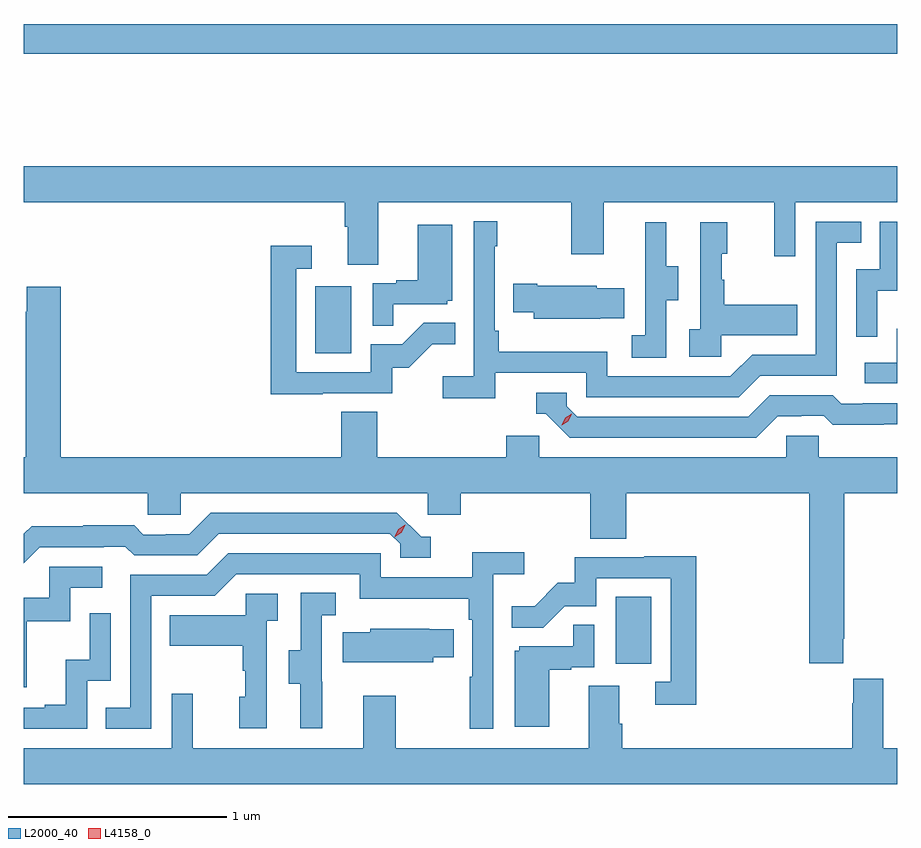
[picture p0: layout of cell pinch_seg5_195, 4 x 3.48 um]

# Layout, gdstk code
import gdstk
lib = gdstk.Library(unit=1e-6, precision=1e-09)
def R(c, l, rs):  # rectangles x0, y0, x1, y1
    for r in rs: c.add(gdstk.rectangle(r[:2], r[2:], *l))
def P(c, l, *ps):  # polygons
    for p in ps: c.add(gdstk.Polygon(p, *l))
L2000_40 = (2000, 40)
L4158_0 = (4158, 0)

pinch_seg5_195 = lib.new_cell('pinch_seg5_195')
R(pinch_seg5_195, L2000_40, [(986.096,907.926,986.26,908.233), (984.722,909.348,984.886,909.655), (983.386,910.72,987.386,910.856)])
P(pinch_seg5_195, L2000_40, [(985.009,910.04),(985.894,910.04),(985.894,909.801),(986.041,909.801),(986.041,910.04),(986.822,910.04),(986.822,909.792),(986.919,909.792),(986.919,910.04),(987.386,910.04),(987.386,910.204),(983.386,910.204),(983.386,910.04),(984.857,910.04),(984.857,909.928),(984.869,909.928),(984.869,909.754),(985.009,909.754)],
  [(985.544,909.258),(985.962,909.258),(985.962,909.147),(986.659,909.147),(986.758,909.246),(987.108,909.246),(987.108,909.855),(987.221,909.855),(987.221,909.951),(987.012,909.951),(987.012,909.342),(986.721,909.342),(986.622,909.243),(986.058,909.243),(986.058,909.355),(985.562,909.355),(985.562,909.451),(985.542,909.451),(985.542,909.839),(985.555,909.839),(985.555,909.952),(985.446,909.952),(985.446,909.244),(985.305,909.244),(985.305,909.142),(985.544,909.142)],
  [(987.294,909.635),(987.386,909.635),(987.386,909.951),(987.306,909.951),(987.306,909.732),(987.198,909.732),(987.198,909.423),(987.294,909.423)],
  [(986.328,909.592),(986.383,909.592),(986.383,909.747),(986.329,909.747),(986.329,909.949),(986.231,909.949),(986.231,909.735),(986.232,909.735),(986.232,909.431),(986.169,909.431),(986.169,909.328),(986.328,909.328)],
  [(986.58,909.431),(986.927,909.431),(986.927,909.571),(986.593,909.571),(986.593,909.686),(986.583,909.686),(986.583,909.804),(986.608,909.804),(986.608,909.949),(986.484,909.949),(986.484,909.458),(986.433,909.458),(986.433,909.333),(986.58,909.333)],
  [(985.079,909.573),(985.326,909.573),(985.326,909.588),(985.348,909.588),(985.348,909.937),(985.19,909.937),(985.19,909.682),(985.091,909.682),(985.091,909.669),(984.984,909.669),(984.984,909.475),(985.079,909.475)],
  [(984.755,909.165),(985.074,909.165),(985.074,909.282),(985.15,909.282),(985.257,909.389),(985.361,909.389),(985.361,909.488),(985.217,909.488),(985.119,909.39),(984.975,909.39),(984.975,909.261),(984.633,909.261),(984.633,909.735),(984.706,909.735),(984.706,909.841),(984.517,909.841),(984.517,909.16),(984.755,909.16)],
  [(986.027,909.509),(986.135,909.509),(986.135,909.646),(986.01,909.646),(986.01,909.658),(985.738,909.658),(985.738,909.666),(985.627,909.666),(985.627,909.536),(985.721,909.536),(985.721,909.506),(986.027,909.506)],
  [(983.555,909.652),(983.399,909.652),(983.399,909.539),(983.395,909.539),(983.395,908.872),(983.386,908.872),(983.386,908.708),(983.955,908.708),(983.955,908.61),(984.105,908.61),(984.105,908.708),(985.236,908.708),(985.236,908.61),(985.388,908.61),(985.388,908.708),(985.979,908.708),(985.979,908.5),(986.144,908.5),(986.144,908.708),(986.984,908.708),(986.984,907.929),(987.139,907.929),(987.139,908.041),(987.144,908.041),(987.144,908.708),(987.386,908.708),(987.386,908.872),(987.027,908.872),(987.027,908.97),(986.877,908.97),(986.877,908.872),(985.746,908.872),(985.746,908.97),(985.595,908.97),(985.595,908.872),(985.004,908.872),(985.004,909.08),(984.839,909.08),(984.839,908.872),(983.555,908.872)],
  [(987.386,909.46),(987.384,909.46),(987.384,909.306),(987.237,909.306),(987.237,909.21),(987.386,909.21)],
  [(986.839,909.06),(986.946,909.06),(986.946,909.063),(987.049,909.063),(987.091,909.021),(987.324,909.021),(987.324,909.023),(987.386,909.023),(987.386,909.12),(987.229,909.12),(987.229,909.117),(987.13,909.117),(987.091,909.156),(986.802,909.156),(986.703,909.057),(985.92,909.057),(985.872,909.105),(985.872,909.168),(985.733,909.168),(985.733,909.072),(985.776,909.072),(985.887,908.961),(986.74,908.961)],
  [(983.46,908.46),(983.753,908.46),(983.753,908.463),(983.852,908.463),(983.891,908.424),(984.18,908.424),(984.279,908.523),(985.062,908.523),(985.11,908.475),(985.11,908.412),(985.249,908.412),(985.249,908.508),(985.206,908.508),(985.095,908.619),(984.242,908.619),(984.143,908.52),(984.036,908.52),(984.036,908.517),(983.933,908.517),(983.891,908.56),(983.658,908.56),(983.658,908.557),(983.422,908.557),(983.386,908.521),(983.386,908.386)],
  [(983.97,908.238),(984.261,908.238),(984.36,908.337),(984.924,908.337),(984.924,908.225),(985.423,908.225),(985.423,908.129),(985.44,908.129),(985.44,907.868),(985.428,907.868),(985.428,907.629),(985.536,907.629),(985.536,908.336),(985.678,908.336),(985.678,908.438),(985.439,908.438),(985.439,908.322),(985.02,908.322),(985.02,908.433),(984.323,908.433),(984.224,908.334),(983.874,908.334),(983.874,907.725),(983.761,907.725),(983.761,907.629),(983.97,907.629)],
  [(986.465,908.42),(986.227,908.42),(986.227,908.415),(985.909,908.415),(985.909,908.298),(985.832,908.298),(985.725,908.191),(985.621,908.191),(985.621,908.092),(985.765,908.092),(985.863,908.19),(986.007,908.19),(986.007,908.319),(986.349,908.319),(986.349,907.845),(986.277,907.845),(986.277,907.74),(986.465,907.74)],
  [(983.399,908.121),(983.598,908.121),(983.598,908.274),(983.746,908.274),(983.746,908.37),(983.502,908.37),(983.502,908.229),(983.386,908.229),(983.386,907.818),(983.399,907.818)],
  [(984.752,907.845),(984.75,907.845),(984.75,908.149),(984.814,908.149),(984.814,908.252),(984.654,908.252),(984.654,907.989),(984.599,907.989),(984.599,907.834),(984.653,907.834),(984.653,907.632),(984.752,907.632)],
  [(984.498,908.123),(984.55,908.123),(984.55,908.247),(984.402,908.247),(984.402,908.149),(984.055,908.149),(984.055,908.009),(984.39,908.009),(984.39,907.895),(984.4,907.895),(984.4,907.776),(984.374,907.776),(984.374,907.632),(984.498,907.632)],
  [(983.676,907.848),(983.784,907.848),(983.784,908.158),(983.688,908.158),(983.688,907.946),(983.579,907.946),(983.579,907.738),(983.483,907.738),(983.483,907.725),(983.386,907.725),(983.386,907.629),(983.676,907.629)],
  [(985.792,907.899),(985.892,907.899),(985.892,907.911),(985.998,907.911),(985.998,908.105),(985.903,908.105),(985.903,908.007),(985.656,908.007),(985.656,907.986),(985.634,907.986),(985.634,907.638),(985.792,907.638)],
  [(985.261,907.957),(985.355,907.957),(985.355,908.085),(985.244,908.085),(985.244,908.086),(984.972,908.086),(984.972,908.071),(984.847,908.071),(984.847,907.934),(985.261,907.934)],
  [(987.386,907.54),(987.322,907.54),(987.322,907.858),(987.185,907.858),(987.185,907.745),(987.179,907.745),(987.179,907.54),(986.126,907.54),(986.126,907.652),(986.113,907.652),(986.113,907.826),(985.973,907.826),(985.973,907.54),(985.089,907.54),(985.089,907.78),(984.941,907.78),(984.941,907.54),(984.161,907.54),(984.161,907.789),(984.063,907.789),(984.063,907.54),(983.386,907.54),(983.386,907.376),(987.386,907.376)])
P(pinch_seg5_195, L4158_0, [(985.849,909.019),(985.849,909.019),(985.865,909.052),(985.896,909.071),(985.896,909.071),(985.896,909.071),(985.88,909.038),(985.85,909.019)],
  [(985.086,908.508),(985.086,908.509),(985.102,908.542),(985.132,908.562),(985.132,908.562),(985.132,908.561),(985.117,908.529),(985.087,908.508)])

lib.write_gds('pinch_seg5_195.gds')
